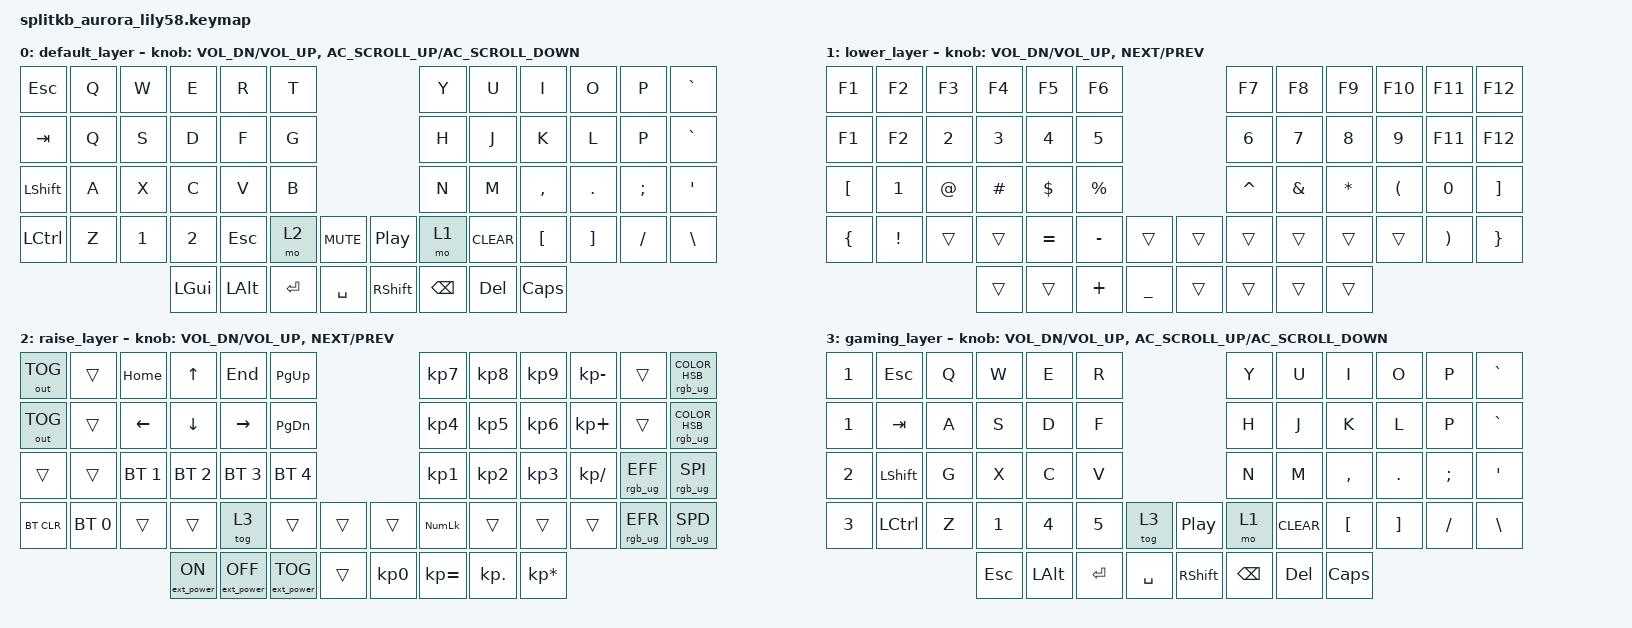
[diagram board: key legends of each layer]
/*
 * Copyright (c) 2022 The ZMK Contributors
 *
 * SPDX-License-Identifier: MIT
 */

#include <behaviors.dtsi>
#include <dt-bindings/zmk/keys.h>
#include <dt-bindings/zmk/bt.h>
#include <dt-bindings/zmk/ext_power.h>
#include <dt-bindings/zmk/mouse.h>
#include <dt-bindings/zmk/rgb.h>
#include <dt-bindings/led/led.h>
#include <dt-bindings/zmk/outputs.h>

&led_strip {
    chain-length = <58>;
};

&left_encoder { resolution = <2>; };
&right_encoder { resolution = <2>; };

/ {

    behaviors {
        bspc_del: backspace_delete {
            compatible = "zmk,behavior-mod-morph";
            #binding-cells = <0>;
            bindings = <&kp BACKSPACE>, <&kp DELETE>;
            mods = <(MOD_LSFT|MOD_RSFT)>;
            keep-mods = <(MOD_RSFT)>;
        };
    };

    keymap {
        compatible = "zmk,keymap";

        default_layer {
// ------------------------------------------------------------------------------------------------------------
// |  ESC  |  1  |  2  |  3   |  4   |  5   |                   |  6   |  7    |  8    |  9   |   0   |   `   |
// |  TAB  |  Q  |  W  |  E   |  R   |  T   |                   |  Y   |  U    |  I    |  O   |   P   |   -   |
// | SHIFT |  A  |  S  |  D   |  F   |  G   |                   |  H   |  J    |  K    |  L   |   ;   |   '   |
// |  CTRL |  Z  |  X  |  C   |  V   |  B   |   MUTE |  | play/p|  N   |  M    |  ,    |  .   |   /   | ENTER |
//                     | ALT  | GUI  | SHIFT|  SPACE |  |BSPC/DEL|     |       |       |
            bindings = <
&kp ESC   &kp Q     &kp W    &kp E    &kp R    &kp T                             &kp Y      &kp U     &kp I     &kp O    &kp P     &kp GRAVE
&kp TAB   &kp Q     &kp S    &kp D    &kp F    &kp G                             &kp H      &kp J     &kp K     &kp L    &kp P     &kp GRAVE
&kp LSHFT &kp A     &kp X    &kp C    &kp V    &kp B                             &kp N      &kp M     &kp COMMA &kp DOT  &kp SEMI  &kp SQT
&kp LCTRL &kp Z     &kp N1   &kp N2   &kp ESC  &mo 2      &kp C_MUTE   &kp C_PP  &mo 1      &kp CLEAR &kp LBKT  &kp RBKT &kp FSLH  &kp BSLH 
                             &kp LGUI &kp LALT &kp RET    &kp SPACE    &kp RSHFT &kp BSPC   &kp DEL   &kp CAPS
            >;

            sensor-bindings = <&inc_dec_kp C_VOL_DN C_VOL_UP &inc_dec_kp C_AC_SCROLL_UP C_AC_SCROLL_DOWN>;
        };

        lower_layer {
// ------------------------------------------------------------------------------------------------------------
// | BTCLR | BT1 | BT2 |  BT3 |  BT4 |  BT5 |                   |      |       |       |      |       |       |
// |  F1   |  F2 |  F3 |  F4  |  F5  |  F6  |                   |  F7  |  F8   |  F9   |  F10 |  F11  |  F12  |
// |       |    |PRSCRN|   [  |   ]  |   =  |                   |      |       |       |      |       |   \   |
// |       |     |     |      |      |      |        |  |       |      |       |       |      |       |       |
//                     |      |      |      |        |  |       |      |       |       |
            bindings = < 
&kp F1     &kp F2           &kp F3            &kp F4            &kp F5            &kp F6                                             &kp F7          &kp F8          &kp F9    &kp F10   &kp F11   &kp F12
&kp F1     &kp F2           &kp N2            &kp N3            &kp N4            &kp N5                                             &kp N6          &kp N7          &kp N8    &kp N9    &kp F11   &kp F12 
&kp LBKT   &kp N1           &kp AT            &kp POUND         &kp DLLR          &kp PRCNT                                          &kp CARET       &kp AMPS        &kp ASTRK &kp LPAR  &kp N0    &kp RBKT
&kp LBRC   &kp EXCL         &trans            &trans            &kp EQUAL         &kp MINUS &trans     &trans        &trans          &trans          &trans    &trans    &kp RPAR  &kp RBRC   
                                              &trans            &trans            &kp PLUS             &kp UNDER     &trans          &trans          &trans          &trans
            >;
            sensor-bindings = <&inc_dec_kp C_VOL_DN C_VOL_UP &inc_dec_kp C_NEXT C_PREV>;
        };

        raise_layer {
// ------------------------------------------------------------------------------------------------------------
// |       |     |     |      |      |      |                   |  7   |   8   |   9   |   -  |       |       |
// |       |     | HOME|  UP  |  END | PG UP|                   |  4   |   5   |   6   |   +  |       |       |
// |  CAPS |     | LEFT| DOWN | RIGHT| PG DN|                   |  1   |   2   |   3   |   /  |       |       |
// |       |     |     |      |      |      |        |  |       |  0   |   =   |   .   |   *  |       |       |
//                     |      |      |      |        |  |       |      |       |       |
            bindings = <
&out OUT_TOG &trans            &kp HOME           &kp UP            &kp END            &kp PG_UP                                         &kp KP_N7      &kp KP_N8    &kp KP_N9    &kp KP_MINUS    &trans          &rgb_ug RGB_COLOR_HSB(285,100,13)
&out OUT_TOG &trans            &kp LEFT           &kp DOWN          &kp RIGHT          &kp PG_DN                                         &kp KP_N4      &kp KP_N5    &kp KP_N6    &kp KP_PLUS     &trans          &rgb_ug RGB_COLOR_HSB(285,100,13)
&trans       &trans            &bt BT_SEL 1       &bt BT_SEL 2      &bt BT_SEL 3       &bt BT_SEL 4                                      &kp KP_N1      &kp KP_N2    &kp KP_N3    &kp KP_DIVIDE   &rgb_ug RGB_EFF &rgb_ug RGB_SPI
&bt BT_CLR   &bt BT_SEL 0      &trans             &trans            &tog 3             &trans                  &trans     &trans         &kp KP_NUM     &trans       &trans       &trans           &rgb_ug RGB_EFR &rgb_ug RGB_SPD
                                                  &ext_power EP_ON  &ext_power EP_OFF  &ext_power EP_TOG       &trans     &kp KP_N0      &kp KP_EQUAL   &kp KP_DOT   &kp KP_MULTIPLY    
            >;

            sensor-bindings = <&inc_dec_kp C_VOL_DN C_VOL_UP &inc_dec_kp C_NEXT C_PREV>;
        };
        gaming_layer {
// ------------------------------------------------------------------------------------------------------------
// |  ESC  |  1  |  2  |  3   |  4   |  5   |                   |  6   |  7    |  8    |  9   |   0   |   `   |
// |  TAB  |  Q  |  W  |  E   |  R   |  T   |                   |  Y   |  U    |  I    |  O   |   P   |   -   |
// | SHIFT |  A  |  S  |  D   |  F   |  G   |                   |  H   |  J    |  K    |  L   |   ;   |   '   |
// |  CTRL |  Z  |  X  |  C   |  V   |  B   |   MUTE |  | play/p|  N   |  M    |  ,    |  .   |   /   | ENTER |
//                     | ALT  | GUI  | SHIFT|  SPACE |  |BSPC/DEL|     |       |       |
            bindings = <
&kp N1    &kp ESC   &kp Q     &kp W    &kp E    &kp R                                 &kp Y      &kp U     &kp I     &kp O    &kp P     &kp GRAVE
&kp N1    &kp TAB   &kp A     &kp S    &kp D    &kp F                                 &kp H      &kp J     &kp K     &kp L    &kp P     &kp GRAVE
&kp N2    &kp LSHFT &kp G     &kp X    &kp C    &kp V                                 &kp N      &kp M     &kp COMMA &kp DOT  &kp SEMI  &kp SQT
&kp N3    &kp LCTRL &kp Z     &kp N1   &kp N4   &kp N5    &tog 3       &kp C_PP       &mo 1      &kp CLEAR &kp LBKT  &kp RBKT &kp FSLH  &kp BSLH 
                              &kp ESC &kp LALT &kp RET    &kp SPACE    &kp RSHFT      &kp BSPC   &kp DEL   &kp CAPS
            >;

            sensor-bindings = <&inc_dec_kp C_VOL_DN C_VOL_UP &inc_dec_kp C_AC_SCROLL_UP C_AC_SCROLL_DOWN>;
        };
    };
};
